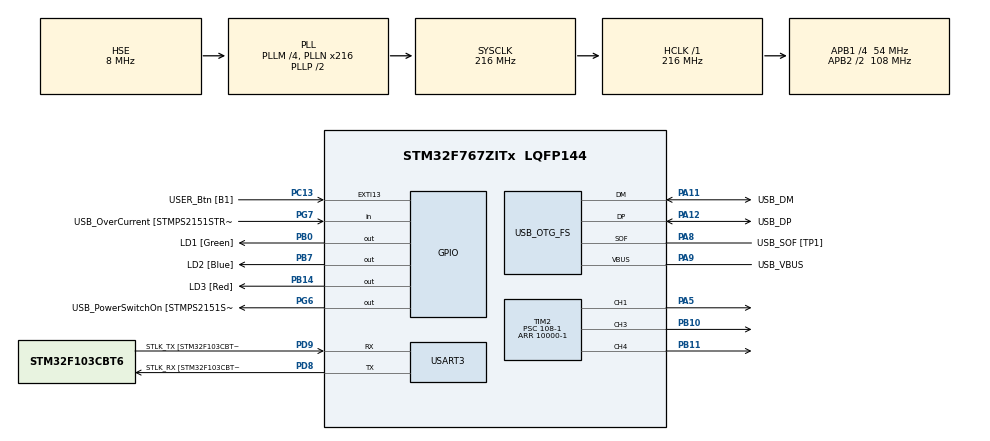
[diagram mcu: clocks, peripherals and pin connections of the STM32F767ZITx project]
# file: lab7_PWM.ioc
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Mcu.Family=STM32F7
Mcu.Name=STM32F767ZITx
Mcu.Package=LQFP144
NVIC.PriorityGroup=NVIC_PRIORITYGROUP_4
PA1.GPIO_Label=RMII_REF_CLK [LAN8742A-CZ-TR_REFCLK0]
PA1.Signal=ETH_REF_CLK
PA10.GPIO_Label=USB_ID
PA10.Signal=USB_OTG_FS_ID
PA11.GPIO_Label=USB_DM
PA11.Mode=Device_Only
PA11.Signal=USB_OTG_FS_DM
PA12.GPIO_Label=USB_DP
PA12.Mode=Device_Only
PA12.Signal=USB_OTG_FS_DP
PA13.GPIO_Label=TMS
PA13.Mode=Serial_Wire
PA13.Signal=SYS_JTMS-SWDIO
PA14.GPIO_Label=TCK
PA14.Mode=Serial_Wire
PA14.Signal=SYS_JTCK-SWCLK
PA5.GPIO_Speed=GPIO_SPEED_FREQ_VERY_HIGH
PA5.Signal=S_TIM2_CH1_ETR
PA7.GPIO_Label=RMII_CRS_DV [LAN8742A-CZ-TR_CRS_DV]
PA7.Signal=ETH_CRS_DV
PA8.GPIO_Label=USB_SOF [TP1]
PA8.Mode=Activate_SOF_FS
PA8.Signal=USB_OTG_FS_SOF
PA9.GPIO_Label=USB_VBUS
PA9.Mode=Activate_VBUS
PA9.Signal=USB_OTG_FS_VBUS
PB0.GPIO_Label=LD1 [Green]
PB0.Signal=GPIO_Output
PB10.GPIO_Speed=GPIO_SPEED_FREQ_VERY_HIGH
PB10.Signal=S_TIM2_CH3
PB11.GPIO_Speed=GPIO_SPEED_FREQ_VERY_HIGH
PB11.Signal=S_TIM2_CH4
PB13.GPIO_Label=RMII_TXD1 [LAN8742A-CZ-TR_TXD1]
PB13.Signal=ETH_TXD1
PB14.GPIO_Label=LD3 [Red]
PB14.Signal=GPIO_Output
PB3.GPIO_Label=SWO
PB3.Signal=SYS_JTDO-SWO
PB7.GPIO_Label=LD2 [Blue]
PB7.Signal=GPIO_Output
PC1.GPIO_Label=RMII_MDC [LAN8742A-CZ-TR_MDC]
PC1.Signal=ETH_MDC
PC13.GPIO_Label=USER_Btn [B1]
PC13.Signal=GPXTI13
PC14/OSC32_IN.Mode=LSE-External-Oscillator
PC14/OSC32_IN.Signal=RCC_OSC32_IN
PC15/OSC32_OUT.Mode=LSE-External-Oscillator
PC15/OSC32_OUT.Signal=RCC_OSC32_OUT
PC4.GPIO_Label=RMII_RXD0 [LAN8742A-CZ-TR_RXD0]
PC4.Signal=ETH_RXD0
PC5.GPIO_Label=RMII_RXD1 [LAN8742A-CZ-TR_RXD1]
PC5.Signal=ETH_RXD1
PD8.GPIO_Label=STLK_RX [STM32F103CBT6_PA3]
PD8.Mode=Asynchronous
PD8.Signal=USART3_TX
PD9.GPIO_Label=STLK_TX [STM32F103CBT6_PA2]
PD9.Mode=Asynchronous
PD9.Signal=USART3_RX
PG11.GPIO_Label=RMII_TX_EN [LAN8742A-CZ-TR_TXEN]
PG11.Signal=ETH_TX_EN
PG13.GPIO_Label=RMII_TXD0 [LAN8742A-CZ-TR_TXD0]
PG13.Signal=ETH_TXD0
PG6.GPIO_Label=USB_PowerSwitchOn [STMPS2151STR_EN]
PG6.Signal=GPIO_Output
PG7.GPIO_Label=USB_OverCurrent [STMPS2151STR_FAULT]
PG7.Signal=GPIO_Input
PH0/OSC_IN.GPIO_Label=MCO [STM32F103CBT6_PA8]
PH0/OSC_IN.Mode=HSE-External-Clock-Source
PH0/OSC_IN.Signal=RCC_OSC_IN
PH1/OSC_OUT.Mode=HSE-External-Clock-Source
PH1/OSC_OUT.Signal=RCC_OSC_OUT
ProjectManager.HeapSize=0x200
ProjectManager.StackSize=0x400
ProjectManager.TargetToolchain=STM32CubeIDE
RCC.48MHZClocksFreq_Value=24000000
RCC.AHBFreq_Value=216000000
RCC.APB1CLKDivider=RCC_HCLK_DIV4
RCC.APB1Freq_Value=54000000
RCC.APB1TimFreq_Value=108000000
RCC.APB2CLKDivider=RCC_HCLK_DIV2
RCC.APB2Freq_Value=108000000
RCC.APB2TimFreq_Value=216000000
RCC.CortexFreq_Value=216000000
RCC.HCLKFreq_Value=216000000
RCC.HSE_VALUE=8000000
RCC.HSI_VALUE=16000000
RCC.PLLM=4
RCC.PLLMUL=RCC_PLL_MUL9
RCC.PLLN=216
RCC.PLLQ=9
RCC.PRESCALERUSB=RCC_USBCLKSOURCE_PLL_DIV1_5
RCC.SYSCLKFreq_VALUE=216000000
RCC.SYSCLKSource=RCC_SYSCLKSOURCE_PLLCLK
RCC.SYSCLKSourceVirtual=RCC_SYSCLKSOURCE_PLLCLK
RCC.USBFreq_Value=48000000
RCC.VCOOutputFreq_Value=432000000
SH.S_TIM2_CH1_ETR.0=TIM2_CH1,PWM Generation1 CH1
SH.S_TIM2_CH3.0=TIM2_CH3,PWM Generation3 CH3
SH.S_TIM2_CH4.0=TIM2_CH4,PWM Generation4 CH4
TIM2.Channel-PWM\ Generation1\ CH1=TIM_CHANNEL_1
TIM2.Channel-PWM\ Generation3\ CH3=TIM_CHANNEL_3
TIM2.Channel-PWM\ Generation4\ CH4=TIM_CHANNEL_4
TIM2.Period=10000-1
TIM2.Prescaler=108-1
TIM2.Pulse-PWM\ Generation1\ CH1=10000/4-1
TIM2.Pulse-PWM\ Generation3\ CH3=10000/4-1
TIM2.Pulse-PWM\ Generation4\ CH4=10000/4-1
USART3.VirtualMode-Asynchronous=VM_ASYNC
USB_OTG_FS.VirtualMode=Device_Only
VP_TIM2_VS_ClockSourceINT.Mode=Internal
board=NUCLEO-F767ZI

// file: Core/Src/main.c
/* USER CODE BEGIN Header */
/**
  ******************************************************************************
  * @file           : main.c
  * @brief          : Main program body
  ******************************************************************************
  * @attention
  *
  * Copyright (c) 2025 STMicroelectronics.
  * All rights reserved.
  *
  * This software is licensed under terms that can be found in the LICENSE file
  * in the root directory of this software component.
  * If no LICENSE file comes with this software, it is provided AS-IS.
  *
  ******************************************************************************
  */
/* USER CODE END Header */
#include "main.h"
#include "tim.h"
#include "usart.h"
#include "usb_otg.h"
#include "gpio.h"
#include "string.h"

/* USER CODE BEGIN PV */
uint8_t pwm_R;
uint8_t pwm_G;
uint8_t pwm_B;
float duty_cycle_r = 0.6;
float duty_cycle_g = 0.2;
float duty_cycle_b = 0.4;

/* USER CODE END PV */

void SystemClock_Config(void);

int main(void)
{

  /* MCU Configuration--------------------------------------------------------*/

  /* Reset of all peripherals, Initializes the Flash interface and the Systick. */
  HAL_Init();

  /* Configure the system clock */
  SystemClock_Config();

  /* Initialize all configured peripherals */
  MX_GPIO_Init();
  MX_USART3_UART_Init();
  MX_USB_OTG_FS_PCD_Init();
  MX_TIM2_Init();

  /* Infinite loop */
  /* USER CODE BEGIN WHILE */

  HAL_TIM_PWM_Start(&htim2, TIM_CHANNEL_3);
  HAL_TIM_PWM_Start(&htim2, TIM_CHANNEL_1);
  HAL_TIM_PWM_Start(&htim2, TIM_CHANNEL_4);

  pwm_R = 0 ;
  pwm_G = 2 ;
  pwm_B = 4 ;

  char buf[500] ;

//  HAL_UART_Transmit(&huart3,"Start!!\r\n", 9, 100);
  sprintf(buf,"Duty Cycle : RED-(%.2f)%% | GREEN-(%.2f)%% | BLUE-(%.2f)%%", duty_cycle_r*100, duty_cycle_g*100, duty_cycle_b*100);

  while (1)
  {
    /* USER CODE END WHILE */
    /* USER CODE BEGIN 3 */
	  htim2.Instance -> CCR3 = (10000-1) * duty_cycle_r;
	  htim2.Instance -> CCR1 = (10000-1) * duty_cycle_g;
	  htim2.Instance -> CCR4 = (10000-1) * duty_cycle_b;

//	  HAL_UART_Transmit(&huart3, (uint8_t *)buf, strlen(buf), 100);
//	  HAL_UART_Transmit(&huart3, "\r", 1, 100);

//	  HAL_UART_Receive(&huart3, (uint8_t*)&input , 1 , 100);
	  char input ;
	  if (HAL_UART_Receive(&huart3, (uint8_t*)&input , 1 , 100) == HAL_OK){
		  if (input == 'r'){
			  if (duty_cycle_r == 1.0){
				  duty_cycle_r = 0;
			  }else{
				  duty_cycle_r += 0.2;
			  }
			  sprintf(buf,"Duty Cycle : RED-(%.2f)%% | GREEN-(%.2f)%% | BLUE-(%.2f)%% \r", duty_cycle_r*100, duty_cycle_g*100, duty_cycle_b*100);
		  }
		  else if (input == 'g'){
			  if (duty_cycle_g == 1.0){
				  duty_cycle_g = 0;
			  }else{
				  duty_cycle_g += 0.2;
			  }
			  sprintf(buf,"Duty Cycle : RED-(%.2f)%% | GREEN-(%.2f)%% | BLUE-(%.2f)%% \r", duty_cycle_r*100, duty_cycle_g*100, duty_cycle_b*100);
		  }
		  else if (input == 'b'){
			  if (duty_cycle_b == 1.0){
				  duty_cycle_b = 0;
			  }else{
				  duty_cycle_b += 0.2;
			  }
			  sprintf(buf,"Duty Cycle : RED-(%.2f)%% | GREEN-(%.2f)%% | BLUE-(%.2f)%% \r", duty_cycle_r*100, duty_cycle_g*100, duty_cycle_b*100);
		  }
		  HAL_UART_Transmit(&huart3, (uint8_t *)buf, strlen(buf), 100);
		  sprintf(buf, "                                                                \r");
	  }
//	  HAL_Delay(100);
	  input = '0';

	  pwm_R = (GPIOB->IDR & GPIO_PIN_10) >>10 ;
	  pwm_G = ((GPIOA->IDR & GPIO_PIN_5) >>5 )+2 ;
	  pwm_B = ((GPIOB->IDR & GPIO_PIN_11) >>11) +4 ;

  }
  HAL_TIM_PWM_Stop(&htim2, TIM_CHANNEL_3);
  HAL_TIM_PWM_Stop(&htim2, TIM_CHANNEL_1);
  HAL_TIM_PWM_Stop(&htim2, TIM_CHANNEL_4);
  /* USER CODE END 3 */
}

void SystemClock_Config(void)
{
  RCC_OscInitTypeDef RCC_OscInitStruct = {0};
  RCC_ClkInitTypeDef RCC_ClkInitStruct = {0};

  /** Configure LSE Drive Capability
  */
  HAL_PWR_EnableBkUpAccess();

  /** Configure the main internal regulator output voltage
  */
  __HAL_RCC_PWR_CLK_ENABLE();
  __HAL_PWR_VOLTAGESCALING_CONFIG(PWR_REGULATOR_VOLTAGE_SCALE1);

  /** Initializes the RCC Oscillators according to the specified parameters
  * in the RCC_OscInitTypeDef structure.
  */
  RCC_OscInitStruct.OscillatorType = RCC_OSCILLATORTYPE_HSE;
  RCC_OscInitStruct.HSEState = RCC_HSE_BYPASS;
  RCC_OscInitStruct.PLL.PLLState = RCC_PLL_ON;
  RCC_OscInitStruct.PLL.PLLSource = RCC_PLLSOURCE_HSE;
  RCC_OscInitStruct.PLL.PLLM = 4;
  RCC_OscInitStruct.PLL.PLLN = 216;
  RCC_OscInitStruct.PLL.PLLP = RCC_PLLP_DIV2;
  RCC_OscInitStruct.PLL.PLLQ = 9;
  RCC_OscInitStruct.PLL.PLLR = 2;
  if (HAL_RCC_OscConfig(&RCC_OscInitStruct) != HAL_OK)
  {
    Error_Handler();
  }

  /** Activate the Over-Drive mode
  */
  if (HAL_PWREx_EnableOverDrive() != HAL_OK)
  {
    Error_Handler();
  }

  /** Initializes the CPU, AHB and APB buses clocks
  */
  RCC_ClkInitStruct.ClockType = RCC_CLOCKTYPE_HCLK|RCC_CLOCKTYPE_SYSCLK
                              |RCC_CLOCKTYPE_PCLK1|RCC_CLOCKTYPE_PCLK2;
  RCC_ClkInitStruct.SYSCLKSource = RCC_SYSCLKSOURCE_PLLCLK;
  RCC_ClkInitStruct.AHBCLKDivider = RCC_SYSCLK_DIV1;
  RCC_ClkInitStruct.APB1CLKDivider = RCC_HCLK_DIV4;
  RCC_ClkInitStruct.APB2CLKDivider = RCC_HCLK_DIV2;

  if (HAL_RCC_ClockConfig(&RCC_ClkInitStruct, FLASH_LATENCY_7) != HAL_OK)
  {
    Error_Handler();
  }
}

void Error_Handler(void)
{
  __disable_irq();
  while (1)
  {
  }
}
